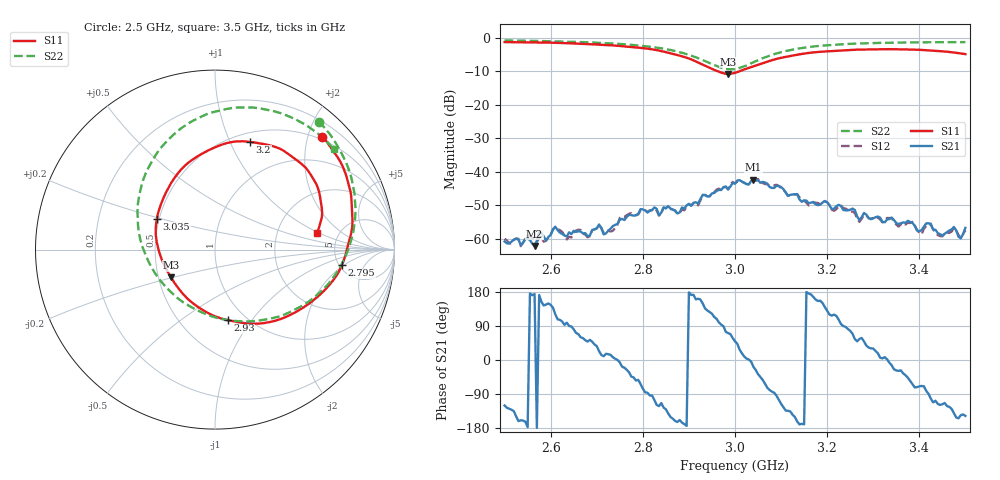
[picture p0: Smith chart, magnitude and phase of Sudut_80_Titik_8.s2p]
# Hz S RI R 50
! CMT, C1220, 16058040, 17.2.0/1
! Date: 15/08/2018 09:54:47
! Data: Format (Calibration Info)
! Freq  S11: Re/Im (F2)  S21: Re/Im (F2)  S12: Re/Im (F2)  S22: Re/Im (F2)
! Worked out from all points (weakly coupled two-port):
!   201 points, 2.5 GHz to 3.5 GHz, reference 50 ohm
!   highest |S21| = -42.31 dB at 3.04 GHz (marker M1); lowest = -62.1 dB at 2.565 GHz (marker M2)
!   lowest |S11| = -10.7 dB at 2.985 GHz (marker M3), VSWR 1.82, Z = 29.1 - j9.79 ohm
!   |S11| at or under -10 dB: 2.964 GHz to 3.009 GHz (44.98 MHz wide, 1.51 % of centre)
!   |S22| runs from -9.3 to -0.7 dB; largest |S21 - S12| = 0.0006
!   S11 on the Smith chart (normalised r, x): 2.5 GHz: 0.44, +2.26; 2.795 GHz: 5.26, -1.86; 2.93 GHz: 0.83, -0.77; 3.035 GHz: 0.49, +0.19; 3.2 GHz: 0.60, +1.19; 3.5 GHz: 3.42, +0.93
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2.5e9  0.5984 0.6292  -0.00046 -0.000793  -0.00048 -0.000881  0.5782 0.7133
2.565e9  0.6694 0.5339  -0.00078 8.16e-05  -0.000822 0.000247  0.6493 0.6293
2.61e9  0.7153 0.4545  -0.000775 0.00131  -0.000821 0.00127  0.6939 0.5568
2.635e9  0.7355 0.3963  -0.00016 0.00107  -3.9e-05 0.000979  0.7175 0.5125
2.67e9  0.7569 0.3121  0.000642 0.00102  0.000728 0.000965  0.7481 0.4391
2.705e9  0.7633 0.2158  0.00151 0.000648  0.00147 0.000636  0.7692 0.3538
2.715e9  0.7648 0.1877  0.00115 0.000203  0.00121 0.000244  0.7747 0.3279
2.795e9  0.7064 -0.0871  0.00125 -0.00249  0.0012 -0.00236  0.7648 0.0734
2.835e9  0.6061 -0.231  -0.00119 -0.00192  -0.00115 -0.0019  0.7053 -0.0816
2.93e9  0.0705 -0.393  -0.00391 0.00235  -0.00398 0.00206  0.2506 -0.3943
2.985e9  -0.2457 -0.1543  0.00178 0.00516  0.00155 0.00529  -0.1771 -0.2939
3e9  -0.2972 -0.0537  0.00437 0.00509  0.00461 0.00484  -0.2752 -0.2065
3.035e9  -0.3241 0.1725  0.0073 -0.000534  0.00723 -0.000512  -0.4158 0.0533
3.04e9  -0.3171 0.2036  0.00729 -0.00236  0.00754 -0.00228  -0.4243 0.0948
3.17e9  0.1012 0.6005  -0.00344 0.000833  -0.00349 0.000657  -0.0728 0.7424
3.2e9  0.1958 0.6  -0.00225 0.0027  -0.00213 0.00282  0.0404 0.778
3.27e9  0.3827 0.5505  0.00108 0.00158  0.00104 0.00146  0.2621 0.7845
3.335e9  0.5088 0.4522  0.00196 -0.000239  0.00202 -0.000298  0.4156 0.7409
3.405e9  0.5802 0.3209  0.000498 -0.00126  0.000377 -0.00111  0.5401 0.6705
3.475e9  0.5874 0.1515  -0.00115 -0.000969  -0.00105 -0.00101  0.6341 0.59
3.49e9  0.5767 0.1143  -0.000839 -0.000577  -0.000886 -0.000522  0.652 0.5713
3.5e9  0.5671 0.0909  -0.00123 -0.000785  -0.00118 -0.000639  0.6631 0.5594
